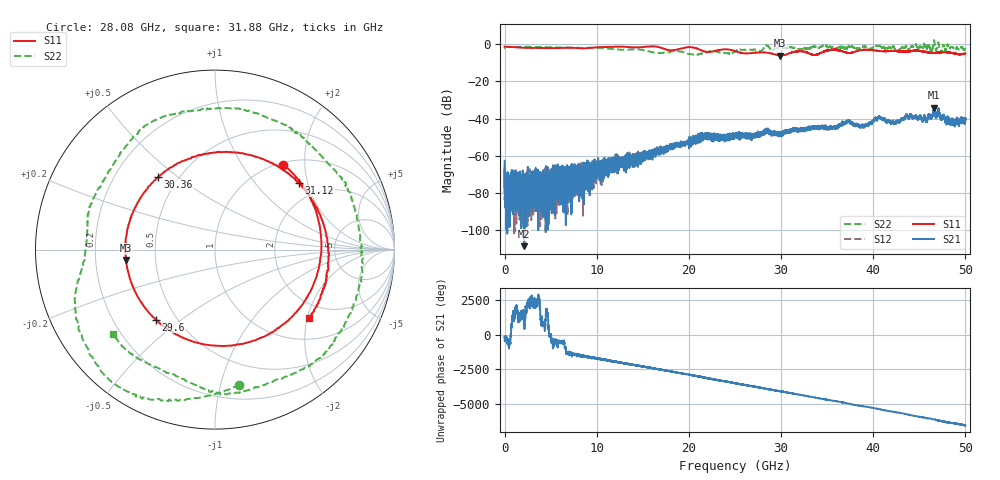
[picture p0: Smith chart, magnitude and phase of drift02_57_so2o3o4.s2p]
!Created with skrf (http://scikit-rf.org).
# Hz S RI R 50.0
!freq ReS11 ImS11 ReS21 ImS21 ReS12 ImS12 ReS22 ImS22
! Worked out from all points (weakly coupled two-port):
!   10001 points, 300 kHz to 50 GHz, reference 50 ohm
!   highest |S21| = -34.13 dB at 46.6 GHz (marker M1); lowest = -108.6 dB at 2.14 GHz (marker M2)
!   lowest |S11| = -6.0 dB at 29.92 GHz (marker M3), VSWR 2.99, Z = 16.8 - j2.64 ohm
!   |S11| at or under -10 dB: nowhere
!   |S22| runs from -5.7 to 2.0 dB; largest |S21 - S12| = 0.0034
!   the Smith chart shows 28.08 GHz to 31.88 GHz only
!   S11 on the Smith chart (normalised r, x): 28.08 GHz: 1.04, +1.56; 29.6 GHz: 0.39, -0.41; 30.36 GHz: 0.39, +0.43; 31.12 GHz: 1.52, +1.75; 31.88 GHz: 1.56, -2.06
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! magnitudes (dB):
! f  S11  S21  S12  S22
! 300 kHz  -1.3  -62.7  -65.5  -2.1
! 280.3 MHz  -1.3  -69.9  -76.5  -1.4
! 2.14 GHz  -1.9  -108.6  -79.5  -1.3
! 6.25 GHz  -1.9  -71.3  -74.9  -1.7
! 8.335 GHz  -2.2  -69.2  -70.2  -1.9
! 16.67 GHz  -1.4  -57.6  -57.8  -4.7
! 21.46 GHz  -3.4  -49.6  -48.9  -4.8
! 25 GHz  -3.7  -49.7  -48.6  -3.9
! 28.08 GHz  -4.3  -46.9  -47.5  -2.3
! 29.6 GHz  -5.8  -47.4  -48.3  -2.1
! 29.92 GHz  -6.0  -49.0  -48.9  -2.0
! 30.36 GHz  -5.8  -48.1  -47.7  -1.9
! 31.12 GHz  -4.5  -45.9  -46.5  -1.6
! 31.88 GHz  -3.8  -46.1  -45.8  -2.7
! 33.34 GHz  -5.5  -45.0  -44.2  -1.6
! 37.27 GHz  -4.7  -41.7  -41.5  -1.5
! 38.84 GHz  -3.1  -44.0  -44.2  -1.1
! 40.68 GHz  -3.7  -39.6  -39.2  -0.9
! 41.67 GHz  -3.6  -41.3  -40.9  -2.0
! 46.6 GHz  -4.7  -34.1  -34.7  1.7
! 48.54 GHz  -4.7  -40.3  -40.9  -1.6
! 50 GHz  -4.9  -41.4  -39.5  -2.6
